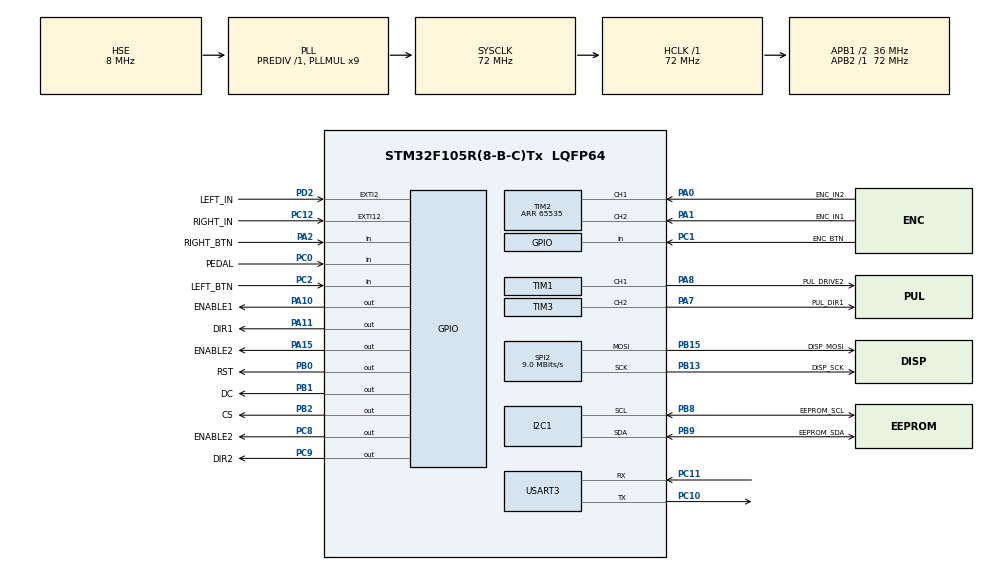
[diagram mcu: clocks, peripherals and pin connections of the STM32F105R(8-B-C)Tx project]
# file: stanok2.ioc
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Dma.Request0=SPI2_TX
Dma.SPI2_TX.0.Direction=DMA_MEMORY_TO_PERIPH
Dma.SPI2_TX.0.Instance=DMA1_Channel5
Dma.SPI2_TX.0.MemDataAlignment=DMA_MDATAALIGN_BYTE
Dma.SPI2_TX.0.MemInc=DMA_MINC_ENABLE
Dma.SPI2_TX.0.Mode=DMA_NORMAL
Dma.SPI2_TX.0.PeriphDataAlignment=DMA_PDATAALIGN_BYTE
Dma.SPI2_TX.0.PeriphInc=DMA_PINC_DISABLE
Dma.SPI2_TX.0.Priority=DMA_PRIORITY_LOW
I2C1.I2C_Mode=I2C_Fast
Mcu.Family=STM32F1
Mcu.Name=STM32F105R(8-B-C)Tx
Mcu.Package=LQFP64
NVIC.DMA1_Channel5_IRQn=true\:3\:0\:true\:false\:true\:false\:true\:true
NVIC.EXTI15_10_IRQn=true\:0\:0\:true\:false\:true\:true\:true\:true
NVIC.EXTI2_IRQn=true\:0\:0\:true\:false\:true\:true\:true\:true
NVIC.PriorityGroup=NVIC_PRIORITYGROUP_4
PA0-WKUP.GPIO_Label=ENC_IN2
PA0-WKUP.GPIO_PuPd=GPIO_PULLDOWN
PA0-WKUP.Signal=S_TIM2_CH1_ETR
PA1.GPIO_Label=ENC_IN1
PA1.GPIO_PuPd=GPIO_PULLDOWN
PA1.Signal=S_TIM2_CH2
PA10.GPIO_Label=ENABLE1
PA10.GPIO_Speed=GPIO_SPEED_FREQ_LOW
PA10.Signal=GPIO_Output
PA11.GPIO_Label=DIR1
PA11.GPIO_Speed=GPIO_SPEED_FREQ_LOW
PA11.Signal=GPIO_Output
PA13.Mode=Serial_Wire
PA13.Signal=SYS_JTMS-SWDIO
PA14.Mode=Serial_Wire
PA14.Signal=SYS_JTCK-SWCLK
PA15.GPIO_Label=ENABLE2
PA15.GPIO_Speed=GPIO_SPEED_FREQ_LOW
PA15.Signal=GPIO_Output
PA2.GPIO_Label=RIGHT_BTN
PA2.GPIO_PuPd=GPIO_NOPULL
PA2.Signal=GPIO_Input
PA7.GPIO_Label=PUL_DIR1
PA7.Signal=S_TIM3_CH2
PA8.GPIO_Label=PUL_DRIVE2
PA8.Signal=S_TIM1_CH1
PB0.GPIO_Label=RST
PB0.Signal=GPIO_Output
PB1.GPIO_Label=DC
PB1.Signal=GPIO_Output
PB13.GPIO_Label=DISP_SCK
PB13.Mode=TX_Only_Simplex_Unidirect_Master
PB13.Signal=SPI2_SCK
PB15.GPIO_Label=DISP_MOSI
PB15.Mode=TX_Only_Simplex_Unidirect_Master
PB15.Signal=SPI2_MOSI
PB2.GPIO_Label=CS
PB2.Signal=GPIO_Output
PB8.GPIO_Label=EEPROM_SCL
PB8.Mode=I2C
PB8.Signal=I2C1_SCL
PB9.GPIO_Label=EEPROM_SDA
PB9.Mode=I2C
PB9.Signal=I2C1_SDA
PC0.GPIO_Label=PEDAL
PC0.GPIO_PuPd=GPIO_NOPULL
PC0.Signal=GPIO_Input
PC1.GPIO_Label=ENC_BTN
PC1.Signal=GPIO_Input
PC10.Mode=Asynchronous
PC10.Signal=USART3_TX
PC11.Mode=Asynchronous
PC11.Signal=USART3_RX
PC12.GPIO_Label=RIGHT_IN
PC12.GPIO_PuPd=GPIO_PULLDOWN
PC12.Signal=GPXTI12
PC2.GPIO_Label=LEFT_BTN
PC2.GPIO_PuPd=GPIO_NOPULL
PC2.Signal=GPIO_Input
PC8.GPIO_Label=ENABLE2
PC8.GPIO_Speed=GPIO_SPEED_FREQ_LOW
PC8.Signal=GPIO_Output
PC9.GPIO_Label=DIR2
PC9.GPIO_Speed=GPIO_SPEED_FREQ_LOW
PC9.Signal=GPIO_Output
PD0-OSC_IN.Mode=HSE-External-Oscillator
PD0-OSC_IN.Signal=RCC_OSC_IN
PD1-OSC_OUT.Mode=HSE-External-Oscillator
PD1-OSC_OUT.Signal=RCC_OSC_OUT
PD2.GPIO_Label=LEFT_IN
PD2.GPIO_PuPd=GPIO_PULLDOWN
PD2.Signal=GPXTI2
ProjectManager.HeapSize=0x200
ProjectManager.StackSize=0x1000
ProjectManager.TargetToolchain=MDK-ARM V5.32
RCC.AHBFreq_Value=72000000
RCC.APB1CLKDivider=RCC_HCLK_DIV2
RCC.APB1Freq_Value=36000000
RCC.APB1TimFreq_Value=72000000
RCC.APB2Freq_Value=72000000
RCC.APB2TimFreq_Value=72000000
RCC.HCLKFreq_Value=72000000
RCC.PLLMUL=RCC_PLL_MUL9
RCC.PLLSourceVirtual=RCC_PLLSOURCE_HSE
RCC.SYSCLKFreq_VALUE=72000000
RCC.SYSCLKSource=RCC_SYSCLKSOURCE_PLLCLK
RCC.USBFreq_Value=48000000
SH.S_TIM1_CH1.0=TIM1_CH1,PWM Generation1 CH1
SH.S_TIM2_CH1_ETR.0=TIM2_CH1,Encoder_Interface
SH.S_TIM2_CH2.0=TIM2_CH2,Encoder_Interface
SH.S_TIM3_CH2.0=TIM3_CH2,PWM Generation2 CH2
SPI2.BaudRatePrescaler=SPI_BAUDRATEPRESCALER_4
SPI2.CalculateBaudRate=9.0 MBits/s
SPI2.DataSize=SPI_DATASIZE_8BIT
SPI2.Direction=SPI_DIRECTION_2LINES
SPI2.Mode=SPI_MODE_MASTER
SPI2.VirtualType=VM_MASTER
TIM1.Channel-PWM\ Generation1\ CH1=TIM_CHANNEL_1
TIM1.OCMode_PWM-PWM\ Generation1\ CH1=TIM_OCMODE_PWM2
TIM1.OCPolarity_1=TIM_OCPOLARITY_HIGH
TIM1.Period=999
TIM1.Prescaler=71
TIM1.Pulse-PWM\ Generation1\ CH1=499
TIM1.RepetitionCounter=255
TIM1.TIM_MasterOutputTrigger=TIM_TRGO_OC1REF
TIM1.TIM_MasterSlaveMode=TIM_MASTERSLAVEMODE_ENABLE
TIM2.IC1Filter=1
TIM2.IC2Filter=2
TIM2.Period=65535
TIM3.Channel-PWM\ Generation2\ CH2=TIM_CHANNEL_2
TIM3.OCMode_PWM-PWM\ Generation2\ CH2=TIM_OCMODE_PWM2
TIM3.Period=999
TIM3.Prescaler=71
TIM3.Pulse-PWM\ Generation2\ CH2=499
TIM3.TIM_MasterOutputTrigger=TIM_TRGO_OC2REF
TIM3.TIM_MasterSlaveMode=TIM_MASTERSLAVEMODE_ENABLE
TIM4.Period=1599
TIM4.Prescaler=0
TIM5.Period=199
TIM5.Prescaler=0
USART3.VirtualMode=VM_ASYNC
VP_TIM1_VS_ClockSourceINT.Mode=Internal
VP_TIM4_VS_ClockSourceITR.Mode=TriggerSource_ITR0
VP_TIM4_VS_ControllerModeClock.Mode=Clock Mode
VP_TIM5_VS_ClockSourceITR.Mode=TriggerSource_ITR1
VP_TIM5_VS_ControllerModeClock.Mode=Clock Mode
board=custom

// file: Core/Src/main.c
/* USER CODE BEGIN Header */
/**
  ******************************************************************************
  * @file           : main.c
  * @brief          : Main program body
  ******************************************************************************
  * @attention
  *
  * Copyright (c) 2024 STMicroelectronics.
  * All rights reserved.
  *
  * This software is licensed under terms that can be found in the LICENSE file
  * in the root directory of this software component.
  * If no LICENSE file comes with this software, it is provided AS-IS.
  *
  ******************************************************************************
  */
/* USER CODE END Header */
#include "main.h"
#include "dma.h"
#include "i2c.h"
#include "spi.h"
#include "tim.h"
#include "usart.h"
#include "gpio.h"

/* USER CODE BEGIN Includes */
#include "menu.h"
#include "ssd1306.h"
#include "typedef.h"
#include "drive.h"
#include "button.h"
#include "eeprom.h"
#include "iwdg.h"
/* USER CODE END Includes */

/* USER CODE BEGIN PV */
encoder_data_t Pos_Enc1 = {0}; //данные энкодера
coil_data_t preset1 = {0};
coil_data_t preset2 = {0};
coil_data_t preset3 = {0};
coil_data_t preset4 = {0};
coil_data_t * preset_ptr[4];
uint8_t rdata_size = sizeof(preset1.coil_buffer);

/* USER CODE END PV */

void SystemClock_Config(void);
/* USER CODE BEGIN PFP */
void init_preset_struct (coil_data_t ** );
/* USER CODE END PFP */

int main(void)
{

  /* MCU Configuration--------------------------------------------------------*/

  /* Reset of all peripherals, Initializes the Flash interface and the Systick. */
  HAL_Init();

  /* Configure the system clock */
  SystemClock_Config();

  /* Initialize all configured peripherals */
  MX_GPIO_Init();
  MX_DMA_Init();
  MX_SPI2_Init();
  MX_I2C1_Init();
  MX_USART3_UART_Init();
  MX_TIM3_Init();
  MX_TIM1_Init();
  MX_TIM4_Init();
  MX_TIM2_Init();
  MX_TIM5_Init();
  /* USER CODE BEGIN 2 */

	#ifdef __USE_DBG
		sprintf (DBG_buffer,  "start\r\n");
		DBG_PutString(DBG_buffer);
	#endif

	timers_ini ();
	init_preset_struct (preset_ptr);
	ssd1306_Init();
	start_menu ();
	init_loop ();
	main_menu_select_preset_screen();
  /* USER CODE END 2 */

  /* Infinite loop */
  while (1)
  {

    /* USER CODE BEGIN 3 */
		main_loop (&Pos_Enc1,preset_ptr);
  }
  /* USER CODE END 3 */
}

void SystemClock_Config(void)
{
  RCC_OscInitTypeDef RCC_OscInitStruct = {0};
  RCC_ClkInitTypeDef RCC_ClkInitStruct = {0};

  /** Initializes the RCC Oscillators according to the specified parameters
  * in the RCC_OscInitTypeDef structure.
  */
  RCC_OscInitStruct.OscillatorType = RCC_OSCILLATORTYPE_HSE;
  RCC_OscInitStruct.HSEState = RCC_HSE_ON;
  RCC_OscInitStruct.HSEPredivValue = RCC_HSE_PREDIV_DIV1;
  RCC_OscInitStruct.HSIState = RCC_HSI_ON;
  RCC_OscInitStruct.Prediv1Source = RCC_PREDIV1_SOURCE_HSE;
  RCC_OscInitStruct.PLL.PLLState = RCC_PLL_ON;
  RCC_OscInitStruct.PLL.PLLSource = RCC_PLLSOURCE_HSE;
  RCC_OscInitStruct.PLL.PLLMUL = RCC_PLL_MUL9;
  RCC_OscInitStruct.PLL2.PLL2State = RCC_PLL_NONE;
  if (HAL_RCC_OscConfig(&RCC_OscInitStruct) != HAL_OK)
  {
    Error_Handler();
  }

  /** Initializes the CPU, AHB and APB buses clocks
  */
  RCC_ClkInitStruct.ClockType = RCC_CLOCKTYPE_HCLK|RCC_CLOCKTYPE_SYSCLK
                              |RCC_CLOCKTYPE_PCLK1|RCC_CLOCKTYPE_PCLK2;
  RCC_ClkInitStruct.SYSCLKSource = RCC_SYSCLKSOURCE_PLLCLK;
  RCC_ClkInitStruct.AHBCLKDivider = RCC_SYSCLK_DIV1;
  RCC_ClkInitStruct.APB1CLKDivider = RCC_HCLK_DIV2;
  RCC_ClkInitStruct.APB2CLKDivider = RCC_HCLK_DIV1;

  if (HAL_RCC_ClockConfig(&RCC_ClkInitStruct, FLASH_LATENCY_2) != HAL_OK)
  {
    Error_Handler();
  }

  /** Configure the Systick interrupt time
  */
  __HAL_RCC_PLLI2S_ENABLE();
}

/* USER CODE BEGIN 4 */
void init_preset_struct (coil_data_t ** preset)
{
	*(preset+0) = &preset1;
	*(preset+1) = &preset2;
	*(preset+2) = &preset3;
	*(preset+3) = &preset4;
}
/* USER CODE END 4 */

void Error_Handler(void)
{
  __disable_irq();
  while (1)
  {
  }
}
